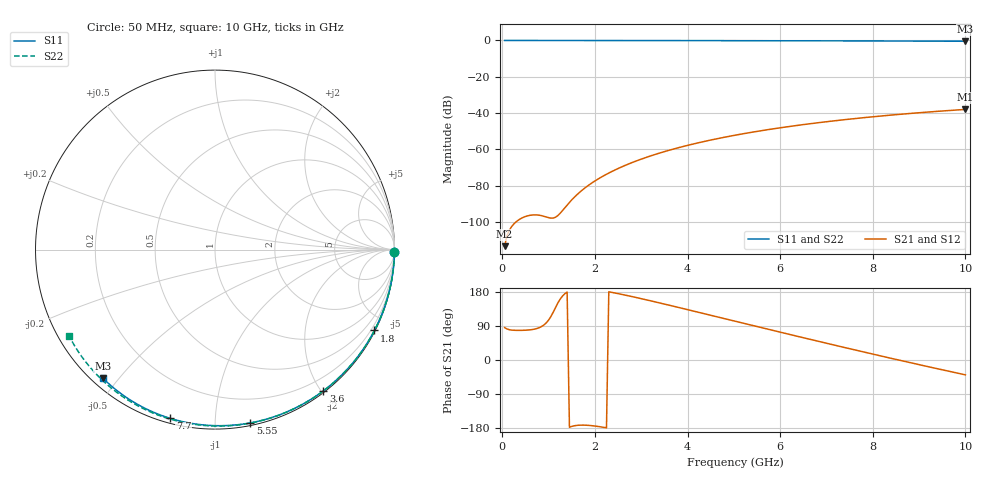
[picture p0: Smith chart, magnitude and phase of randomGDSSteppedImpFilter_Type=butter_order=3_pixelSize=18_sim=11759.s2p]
! freq	dB(S11)	phase(S11)	dB(S12)	phase(S12)
!  dB(S21)	phase(S21)	dB(S22)	phase(S22)
!S-par simulation data
#  GHz  S  DB  R 50
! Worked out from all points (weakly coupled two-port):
!   200 points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, 50 MHz to 10 GHz, reference 50 ohm
!   highest |S21| = -37.96 dB at 10 GHz (marker M1); lowest = -113.2 dB at 50 MHz (marker M2)
!   lowest |S11| = -0.4 dB at 10 GHz (marker M3), VSWR 39.20, Z = 1.54 - j22.7 ohm
!   |S11| at or under -10 dB: nowhere
!   |S22| runs from -0.5 to 0.0 dB; largest |S21 - S12| = 0
!   S11 on the Smith chart (normalised r, x): 50 MHz: open; 1.8 GHz: 0.04, -4.18; 3.6 GHz: 0.02, -2.02; 5.55 GHz: 0.02, -1.22; 7.7 GHz: 0.02, -0.77; 10 GHz: 0.03, -0.45
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0.05  -0.00 -0.8  -113.24 85.5  -113.24 85.5  -0.00 -0.9
0.45  -0.01 -6.8  -97.41 78.4  -97.41 78.4  -0.01 -7.8
0.9  -0.02 -13.6  -96.78 92.6  -96.78 92.6  -0.02 -15.4
1.75  -0.03 -26.2  -81.87 -171.8  -81.87 -171.8  -0.04 -29.7
1.8  -0.03 -26.9  -80.88 -172.0  -80.88 -172.0  -0.04 -30.6
1.85  -0.04 -27.6  -79.93 -172.4  -79.93 -172.4  -0.04 -31.4
2  -0.04 -29.8  -77.34 -174.3  -77.34 -174.3  -0.04 -33.9
2.15  -0.04 -32.0  -75.04 -176.9  -75.04 -176.9  -0.05 -36.4
2.35  -0.04 -34.9  -72.32 178.8  -72.32 178.8  -0.05 -39.6
2.55  -0.05 -37.8  -69.91 173.9  -69.91 173.9  -0.05 -42.9
2.95  -0.06 -43.5  -65.79 163.3  -65.79 163.3  -0.06 -49.3
3.4  -0.07 -49.8  -61.95 150.5  -61.95 150.5  -0.07 -56.5
3.6  -0.07 -52.6  -60.45 144.7  -60.45 144.7  -0.08 -59.6
4.3  -0.09 -62.1  -55.94 124.0  -55.94 124.0  -0.10 -70.3
5.05  -0.11 -72.1  -52.05 101.7  -52.05 101.7  -0.12 -81.5
5.55  -0.13 -78.5  -49.85 86.8  -49.85 86.8  -0.14 -88.8
6.1  -0.15 -85.5  -47.71 70.5  -47.71 70.5  -0.17 -96.6
6.7  -0.18 -92.9  -45.66 52.9  -45.66 52.9  -0.20 -104.9
7.7  -0.24 -104.9  -42.77 24.1  -42.77 24.1  -0.27 -118.5
8.35  -0.29 -112.4  -41.18 5.7  -41.18 5.7  -0.32 -127.2
9.2  -0.36 -122.2  -39.39 -17.7  -39.39 -17.7  -0.40 -138.6
10  -0.44 -131.2  -37.96 -39.2  -37.96 -39.2  -0.50 -149.4
